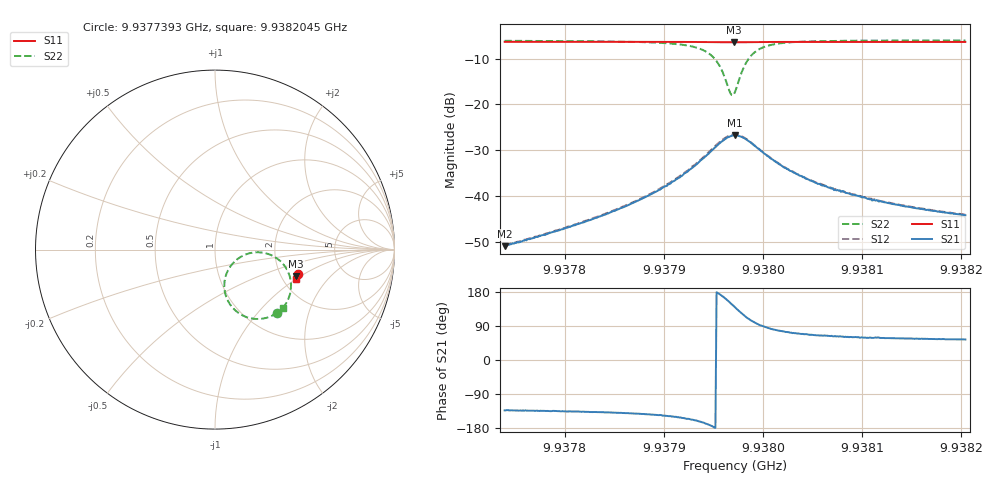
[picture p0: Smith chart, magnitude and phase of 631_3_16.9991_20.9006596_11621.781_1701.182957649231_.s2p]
#  HZ  S  RI  R  50.00
! Rohde & Schwarz Vector Network Analyzer
! Rohde-Schwarz,ZNB20-2Port,1311601062101988,3.16
! Created: UTC 3/20/2024, 11:20:21 PM
! freq[Hz]  re:S11  im:S11  re:S21  im:S21  re:S12  im:S12  re:S22  im:S22
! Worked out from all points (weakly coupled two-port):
!   401 points, 9.9377393 GHz to 9.9382045 GHz, reference 50 ohm
!   highest |S21| = -26.76 dB at 9.9379719 GHz (marker M1); lowest = -50.9 dB at 9.9377393 GHz (marker M2)
!   lowest |S11| = -6.5 dB at 9.9379707 GHz (marker M3), VSWR 2.81, Z = 120 - j46.2 ohm
!   |S11| at or under -10 dB: nowhere
!   |S22| runs from -18.0 to -6.1 dB; largest |S21 - S12| = 0.0023
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9.93773931e9  0.4618 -0.1372  -0.00194 -0.00209  -0.002 -0.00212  0.3474 -0.3506
9.93781722e9  0.4597 -0.1424  -0.00373 -0.00352  -0.00379 -0.00354  0.3275 -0.3634
9.93786257e9  0.4583 -0.1457  -0.00604 -0.00505  -0.00623 -0.00503  0.3045 -0.3743
9.93789513e9  0.4571 -0.148  -0.00964 -0.0066  -0.00993 -0.00662  0.2719 -0.3834
9.93792769e9  0.4553 -0.1506  -0.0184 -0.00772  -0.019 -0.00775  0.198 -0.3824
9.93794514e9  0.4537 -0.1516  -0.0284 -0.00475  -0.0298 -0.00428  0.1171 -0.3423
9.93795328e9  0.4524 -0.1514  -0.0352 0.000655  -0.0363 0.00172  0.0733 -0.287
9.93796025e9  0.4514 -0.1511  -0.0396 0.0096  -0.0403 0.0113  0.0519 -0.2073
9.93796723e9  0.4512 -0.1501  -0.039 0.0223  -0.0394 0.0241  0.0764 -0.108
9.93796956e9  0.4512 -0.1497  -0.0375 0.0263  -0.0372 0.0283  0.0984 -0.0777
9.93797072e9  0.4511 -0.1495  -0.0361 0.028  -0.0358 0.0303  0.1116 -0.0641
9.93797188e9  0.4513 -0.1493  -0.0347 0.03  -0.0343 0.0322  0.1262 -0.0521
9.93797886e9  0.4523 -0.1486  -0.0236 0.0373  -0.0225 0.0386  0.2267 -0.0151
9.93798351e9  0.4531 -0.1486  -0.0157 0.0382  -0.0146 0.0393  0.2889 -0.0219
9.93798932e9  0.4539 -0.149  -0.00801 0.0363  -0.00674 0.0368  0.3469 -0.0501
9.93799514e9  0.4544 -0.1496  -0.0027 0.033  -0.0016 0.0333  0.3835 -0.0852
9.93800328e9  0.4549 -0.1507  0.00192 0.0282  0.00276 0.0283  0.4099 -0.1306
9.93801491e9  0.4551 -0.152  0.0048 0.0226  0.00538 0.0226  0.4226 -0.1796
9.93804979e9  0.4545 -0.1552  0.00581 0.0133  0.00619 0.0133  0.4159 -0.2545
9.93807421e9  0.4539 -0.1573  0.0054 0.0102  0.00566 0.0104  0.407 -0.2782
9.9381277e9  0.4523 -0.1611  0.00445 0.00708  0.00471 0.00707  0.3924 -0.3054
9.93820445e9  0.4502 -0.1662  0.00362 0.00502  0.00378 0.005  0.3786 -0.3236
